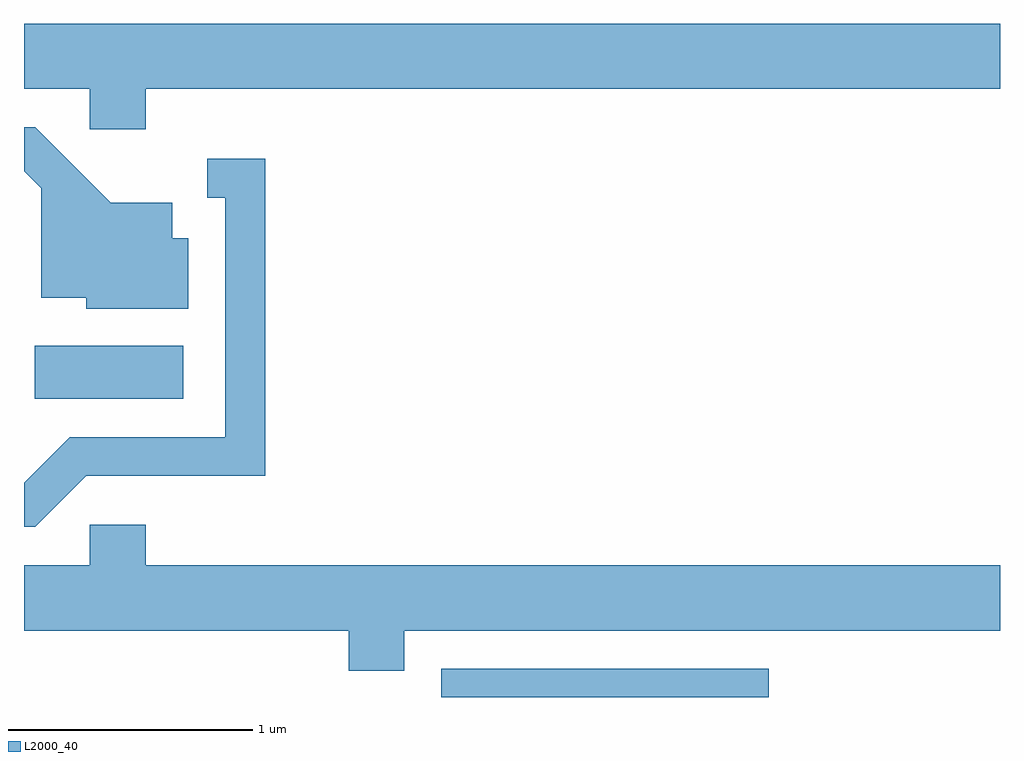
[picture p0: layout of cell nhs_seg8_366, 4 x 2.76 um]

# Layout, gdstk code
import gdstk
lib = gdstk.Library(unit=1e-6, precision=1e-09)
def R(c, l, rs):  # rectangles x0, y0, x1, y1
    for r in rs: c.add(gdstk.rectangle(r[:2], r[2:], *l))
def P(c, l, *ps):  # polygons
    for p in ps: c.add(gdstk.Polygon(p, *l))
L2000_40 = (2000, 40)

nhs_seg8_366 = lib.new_cell('nhs_seg8_366')
R(nhs_seg8_366, L2000_40, [(197.321,1858.342,198.663,1858.459), (195.656,1859.566,196.264,1859.784)])
P(nhs_seg8_366, L2000_40, [(196.109,1860.836),(199.611,1860.836),(199.611,1861.104),(195.611,1861.104),(195.611,1860.836),(195.881,1860.836),(195.881,1860.671),(196.109,1860.671)],
  [(196.284,1860.224),(196.219,1860.224),(196.219,1860.369),(195.967,1860.369),(195.657,1860.679),(195.611,1860.679),(195.611,1860.499),(195.681,1860.429),(195.681,1859.981),(195.866,1859.981),(195.866,1859.936),(196.284,1859.936)],
  [(195.867,1859.251),(196.599,1859.251),(196.599,1860.549),(196.363,1860.549),(196.363,1860.391),(196.436,1860.391),(196.436,1859.409),(195.799,1859.409),(195.611,1859.221),(195.611,1859.041),(195.657,1859.041)],
  [(197.169,1858.616),(199.611,1858.616),(199.611,1858.884),(196.109,1858.884),(196.109,1859.049),(195.881,1859.049),(195.881,1858.884),(195.611,1858.884),(195.611,1858.616),(196.941,1858.616),(196.941,1858.451),(197.169,1858.451)])

lib.write_gds('nhs_seg8_366.gds')
